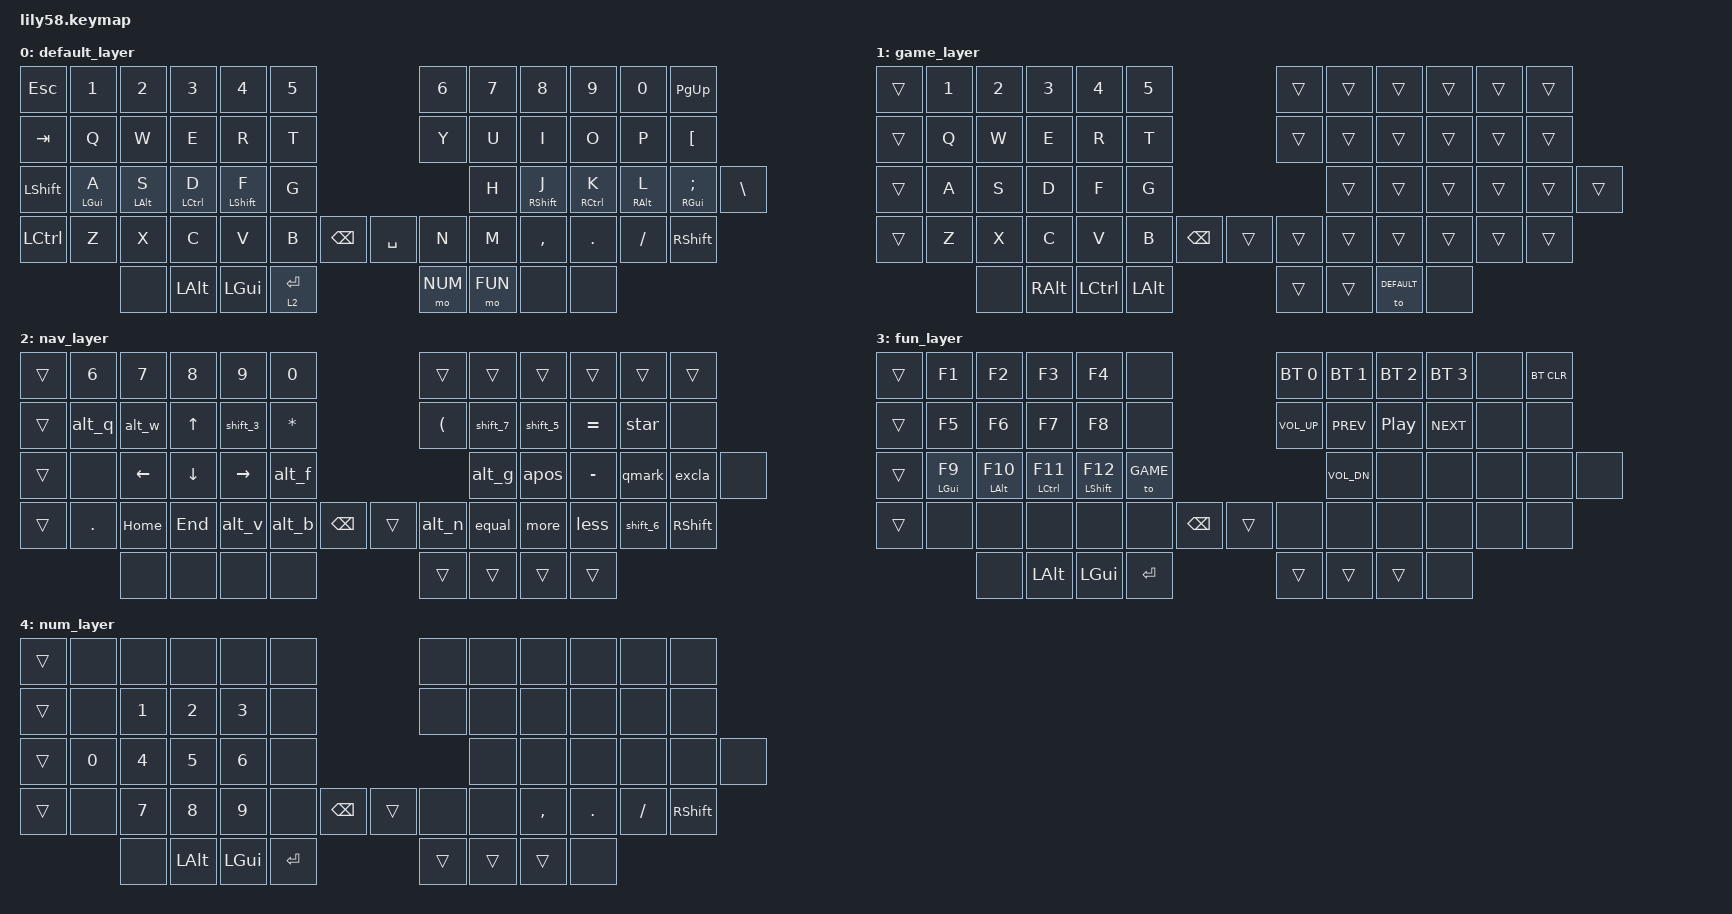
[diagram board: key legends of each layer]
#include <behaviors.dtsi>
#include <dt-bindings/zmk/keys.h>
#include <dt-bindings/zmk/bt.h>
#include <dt-bindings/zmk/ext_power.h>

#define ______ &trans
#define xxxxxx &none

#define DEFAULT 0
#define GAME 1
#define NAV 2
#define FUN 3
#define NUM 4

/ {
    behaviors {
        hrsft: homerow_shift {
            compatible = "zmk,behavior-hold-tap";
            #binding-cells = <2>;
            tapping-term-ms = <185>;
            quick-tap-ms = <175>;
            flavor = "balanced";
            bindings = <&kp>, <&kp>;
        };
        hm: homerow_mods {
            compatible = "zmk,behavior-hold-tap";
            #binding-cells = <2>;
            tapping-term-ms = <230>;
            quick-tap-ms = <175>;
            flavor = "balanced";
            bindings = <&kp>, <&kp>;
        };
        hrwin: homerow_win {
            compatible = "zmk,behavior-hold-tap";
            #binding-cells = <2>;
            tapping-term-ms = <300>;
            quick-tap-ms = <175>;
            flavor = "balanced";
            bindings = <&kp>, <&kp>;
        };
        tm: thumb_mod {
            compatible = "zmk,behavior-hold-tap";
            #binding-cells = <2>;
            tapping-term-ms = <175>;
            quick-tap-ms = <150>;
            flavor = "hold-preferred";
            bindings = <&mo>, <&kp>;
        };
    };

    combos {
        compatible = "zmk,combos";
        combo_esc   { timeout-ms = <35>; key-positions = <14 15>; bindings = <&kp ESC>; layers = <0 1 2>; };
        combo_caps  { timeout-ms = <40>; key-positions = <47 48>; bindings = <&kp CAPS>; layers = <0 1 2>; };
        combo_del   { timeout-ms = <40>; key-positions = <39 40>; bindings = <&kp DEL>; layers = <0 1 2>; };
        combo_space { timeout-ms = <70>; key-positions = <15 42>; bindings = <&kp SPACE>; layers = <0 1 2>; };
    };

    macros {
        alt_f: alt_f { compatible = "zmk,behavior-macro"; #binding-cells = <0>; bindings = <&macro_press &kp RALT>, <&macro_tap &kp F>, <&macro_release &kp RALT>; };
        alt_g: alt_g { compatible = "zmk,behavior-macro"; #binding-cells = <0>; bindings = <&macro_press &kp RALT>, <&macro_tap &kp G>, <&macro_release &kp RALT>; };
        alt_q: alt_q { compatible = "zmk,behavior-macro"; #binding-cells = <0>; bindings = <&macro_press &kp RALT>, <&macro_tap &kp Q>, <&macro_release &kp RALT>; };
        alt_w: alt_w { compatible = "zmk,behavior-macro"; #binding-cells = <0>; bindings = <&macro_press &kp RALT>, <&macro_tap &kp W>, <&macro_release &kp RALT>; };
        alt_v: alt_v { compatible = "zmk,behavior-macro"; #binding-cells = <0>; bindings = <&macro_press &kp RALT>, <&macro_tap &kp V>, <&macro_release &kp RALT>; };
        alt_b: alt_b { compatible = "zmk,behavior-macro"; #binding-cells = <0>; bindings = <&macro_press &kp RALT>, <&macro_tap &kp B>, <&macro_release &kp RALT>; };
        alt_n: alt_n { compatible = "zmk,behavior-macro"; #binding-cells = <0>; bindings = <&macro_press &kp RALT>, <&macro_tap &kp N>, <&macro_release &kp RALT>; };
        under: under { compatible = "zmk,behavior-macro"; #binding-cells = <0>; bindings = <&macro_press &kp LSHFT>, <&macro_tap &kp FSLH>, <&macro_release &kp LSHFT>; };
        star:  star  { compatible = "zmk,behavior-macro"; #binding-cells = <0>; bindings = <&macro_press &kp LSHFT>, <&macro_tap &kp EQUAL>, <&macro_release &kp LSHFT>; };
        tilde: tilde { compatible = "zmk,behavior-macro"; #binding-cells = <0>; bindings = <&macro_press &kp RALT>, <&macro_tap &kp N1>, <&macro_release &kp RALT>; };
        apos:  apos  { compatible = "zmk,behavior-macro"; #binding-cells = <0>; bindings = <&macro_press &kp LSHFT>, <&macro_tap &kp N2>, <&macro_release &kp LSHFT>; };
        qmark: qmark { compatible = "zmk,behavior-macro"; #binding-cells = <0>; bindings = <&macro_press &kp LSHFT>, <&macro_tap &kp MINUS>, <&macro_release &kp LSHFT>; };
        excla: excla { compatible = "zmk,behavior-macro"; #binding-cells = <0>; bindings = <&macro_press &kp LSHFT>, <&macro_tap &kp N1>, <&macro_release &kp LSHFT>; };
        equal: equal { compatible = "zmk,behavior-macro"; #binding-cells = <0>; bindings = <&macro_press &kp LSHFT>, <&macro_tap &kp N0>, <&macro_release &kp LSHFT>; };
        more:  more  { compatible = "zmk,behavior-macro"; #binding-cells = <0>; bindings = <&macro_press &kp RALT>, <&macro_tap &kp COMMA>, <&macro_release &kp RALT>; };
        less:  less  { compatible = "zmk,behavior-macro"; #binding-cells = <0>; bindings = <&macro_press &kp RALT>, <&macro_tap &kp DOT>, <&macro_release &kp RALT>; };
        eur:   eur   { compatible = "zmk,behavior-macro"; #binding-cells = <0>; bindings = <&macro_press &kp RALT>, <&macro_tap &kp E>, <&macro_release &kp RALT>; };
        shift_1: shift_1 { compatible = "zmk,behavior-macro"; #binding-cells = <0>; bindings = <&macro_press &kp LSHIFT>, <&macro_tap &kp N1>, <&macro_release &kp LSHIFT>; };
        shift_2: shift_2 { compatible = "zmk,behavior-macro"; #binding-cells = <0>; bindings = <&macro_press &kp LSHIFT>, <&macro_tap &kp N2>, <&macro_release &kp LSHIFT>; };
        shift_3: shift_3 { compatible = "zmk,behavior-macro"; #binding-cells = <0>; bindings = <&macro_press &kp LSHIFT>, <&macro_tap &kp N3>, <&macro_release &kp LSHIFT>; };
        shift_4: shift_4 { compatible = "zmk,behavior-macro"; #binding-cells = <0>; bindings = <&macro_press &kp LSHIFT>, <&macro_tap &kp N4>, <&macro_release &kp LSHIFT>; };
        shift_5: shift_5 { compatible = "zmk,behavior-macro"; #binding-cells = <0>; bindings = <&macro_press &kp LSHIFT>, <&macro_tap &kp N5>, <&macro_release &kp LSHIFT>; };
        shift_6: shift_6 { compatible = "zmk,behavior-macro"; #binding-cells = <0>; bindings = <&macro_press &kp LSHIFT>, <&macro_tap &kp N6>, <&macro_release &kp LSHIFT>; };
        shift_7: shift_7 { compatible = "zmk,behavior-macro"; #binding-cells = <0>; bindings = <&macro_press &kp LSHIFT>, <&macro_tap &kp N7>, <&macro_release &kp LSHIFT>; };
        shift_8: shift_8 { compatible = "zmk,behavior-macro"; #binding-cells = <0>; bindings = <&macro_press &kp LSHIFT>, <&macro_tap &kp N8>, <&macro_release &kp LSHIFT>; };
        shift_9: shift_9 { compatible = "zmk,behavior-macro"; #binding-cells = <0>; bindings = <&macro_press &kp LSHIFT>, <&macro_tap &kp N9>, <&macro_release &kp LSHIFT>; };
        shift_0: shift_0 { compatible = "zmk,behavior-macro"; #binding-cells = <0>; bindings = <&macro_press &kp LSHIFT>, <&macro_tap &kp N0>, <&macro_release &kp LSHIFT>; };
    };

    keymap {
        compatible = "zmk,keymap";

        default_layer {
            bindings = <
&kp ESC    &kp N1       &kp N2       &kp N3        &kp N4         &kp N5                                &kp N6        &kp N7         &kp N8        &kp N9       &kp N0          &kp PG_UP
&kp TAB    &kp Q        &kp W        &kp E         &kp R          &kp T                                 &kp Y         &kp U          &kp I         &kp O        &kp P           &kp LBKT
&kp LSHFT  &hrwin LGUI A   &hm LALT S   &hm LCTRL D   &hrsft LSHFT F    &kp G                                 &kp H         &hrsft RSHFT J    &hm RCTRL K   &hm RALT L   &hrwin RGUI SEMI   &kp BSLH
&kp LCTRL  &kp Z        &kp X        &kp C         &kp V          &kp B   &kp BSPC            &kp SPACE &kp N         &kp M          &kp COMMA     &kp DOT      &kp FSLH        &kp RSHFT
                         xxxxxx        &kp LALT     &kp LGUI       &tm 2 ENTER                   &mo NUM       &mo FUN         xxxxxx          xxxxxx
            >;
        };

        game_layer {
            bindings = <
______    &kp N1       &kp N2       &kp N3        &kp N4         &kp N5                          ______        ______        ______        ______        ______        ______
______    &kp Q        &kp W        &kp E         &kp R          &kp T                           ______        ______        ______        ______        ______        ______
______  &kp A        &kp S        &kp D         &kp F          &kp G                           ______        ______        ______        ______        ______        ______
______  &kp Z        &kp X        &kp C         &kp V          &kp B   &kp BSPC      ______    ______         ______        ______        ______        ______        ______
                         xxxxxx        &kp RALT      &kp LCTRL      &kp LALT                    ______        ______        &to DEFAULT     xxxxxx
            >;
        };

        nav_layer {
            bindings = <
______    &kp N6        &kp N7         &kp N8        &kp N9       &kp N0                                   ______        ______         ______        ______       ______          ______
______     &alt_q       &alt_w       &kp UP        &shift_3       &kp STAR                                 &kp LPAR      &shift_7       &shift_5      &kp EQUAL    &star           xxxxxx
______     xxxxxx        &kp LEFT     &kp DOWN     &kp RIGHT       &alt_f                                   &alt_g       &apos        &kp MINUS      &qmark        &excla           xxxxxx
______     &kp DOT     &kp HOME      &kp END        &alt_v       &alt_b     &kp BSPC                 ______    &alt_n      &equal           &more        &less     &shift_6          &kp RSHFT
                         xxxxxx       xxxxxx        xxxxxx         xxxxxx                             ______        ______       ______         ______
            >;
        };
        fun_layer {
            bindings = <
 ______       &kp F1         &kp F2        &kp F3        &kp F4          xxxxxx                          &bt BT_SEL 0   &bt BT_SEL 1  &bt BT_SEL 2  &bt BT_SEL 3         xxxxxx         &bt BT_CLR
 ______       &kp F5        &kp F6        &kp F7        &kp F8             xxxxxx                          &kp C_VOL_UP        &kp C_PREV    &kp C_PP      &kp C_NEXT          xxxxxx         xxxxxx
 ______   &hrwin LGUI F9  &hm LALT F10  &hm LCTRL F11  &hrsft LSHFT F12    &to GAME                          &kp C_VOL_DN         xxxxxx         xxxxxx         xxxxxx         xxxxxx        xxxxxx
 ______       xxxxxx        xxxxxx         xxxxxx         xxxxxx          xxxxxx   &kp BSPC         ______   xxxxxx         xxxxxx         xxxxxx         xxxxxx         xxxxxx         xxxxxx
                            xxxxxx         &kp LALT     &kp LGUI       &kp ENTER                              ______         ______         ______         xxxxxx
            >;
        };
        num_layer {
            bindings = <
 ______      xxxxxx        xxxxxx        xxxxxx         xxxxxx         xxxxxx                          xxxxxx        xxxxxx         xxxxxx         xxxxxx         xxxxxx         xxxxxx 
 ______      xxxxxx        &kp N1        &kp N2         &kp N3         xxxxxx                          xxxxxx        xxxxxx         xxxxxx         xxxxxx         xxxxxx         xxxxxx 
 ______      &kp N0        &kp N4        &kp N5         &kp N6         xxxxxx                          xxxxxx        xxxxxx         xxxxxx         xxxxxx         xxxxxx         xxxxxx 
 ______      xxxxxx        &kp N7        &kp N8         &kp N9         xxxxxx     &kp BSPC       ______   xxxxxx        xxxxxx        &kp COMMA     &kp DOT      &kp FSLH        &kp RSHFT
                         xxxxxx           &kp LALT     &kp LGUI       &kp ENTER                          ______         ______         ______         xxxxxx
            >;
        };
    };
};
